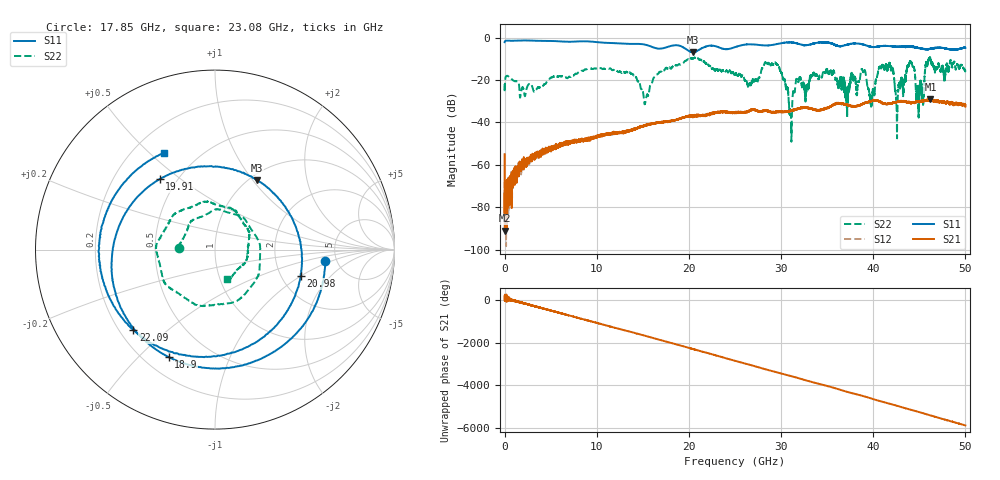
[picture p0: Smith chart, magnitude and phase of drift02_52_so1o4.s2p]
!Created with skrf (http://scikit-rf.org).
# Hz S RI R 50.0
!freq ReS11 ImS11 ReS21 ImS21 ReS12 ImS12 ReS22 ImS22
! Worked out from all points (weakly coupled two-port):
!   10001 points, 300 kHz to 50 GHz, reference 50 ohm
!   highest |S21| = -29.04 dB at 46.21 GHz (marker M1); lowest = -91.1 dB at 25.3 MHz (marker M2)
!   lowest |S11| = -6.9 dB at 20.41 GHz (marker M3), VSWR 2.64, Z = 54.1 + j52.3 ohm
!   |S11| at or under -10 dB: nowhere
!   |S22| runs from -49.1 to -9.1 dB; largest |S21 - S12| = 0.0032
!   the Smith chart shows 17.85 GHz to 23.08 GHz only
!   S11 on the Smith chart (normalised r, x): 17.85 GHz: 4.03, -0.86; 18.9 GHz: 0.30, -0.62; 19.91 GHz: 0.40, +0.42; 20.98 GHz: 2.55, -0.99; 22.09 GHz: 0.26, -0.39; 23.08 GHz: 0.32, +0.56
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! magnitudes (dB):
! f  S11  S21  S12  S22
! 300 kHz  -2.1  -55.0  -67.7  -21.8
! 25.3 MHz  -1.9  -91.1  -75.6  -23.2
! 8.335 GHz  -1.7  -48.7  -48.3  -15.7
! 15.33 GHz  -3.4  -41.2  -41.2  -29.0
! 16.67 GHz  -5.2  -40.1  -40.1  -17.0
! 17.85 GHz  -4.2  -39.4  -39.4  -13.9
! 18.9 GHz  -3.7  -38.4  -38.4  -12.5
! 19.91 GHz  -6.0  -37.2  -37.0  -10.1
! 20.41 GHz  -6.9  -36.8  -36.6  -10.0
! 20.98 GHz  -6.0  -37.2  -36.6  -9.7
! 22.09 GHz  -3.9  -36.3  -36.3  -12.8
! 23.08 GHz  -4.3  -35.1  -35.3  -15.0
! 25 GHz  -4.5  -35.4  -35.3  -17.5
! 29.51 GHz  -3.1  -34.8  -34.9  -12.6
! 31.03 GHz  -2.3  -34.6  -34.6  -34.0
! 33.34 GHz  -3.0  -33.6  -33.4  -18.2
! 38.92 GHz  -3.2  -31.0  -31.0  -16.3
! 39.86 GHz  -4.4  -29.8  -29.8  -28.1
! 41.67 GHz  -3.9  -31.1  -31.1  -13.4
! 42.58 GHz  -4.3  -30.3  -30.3  -45.3
! 46.21 GHz  -5.4  -29.0  -29.0  -10.0
! 50 GHz  -4.7  -32.5  -31.8  -15.7
